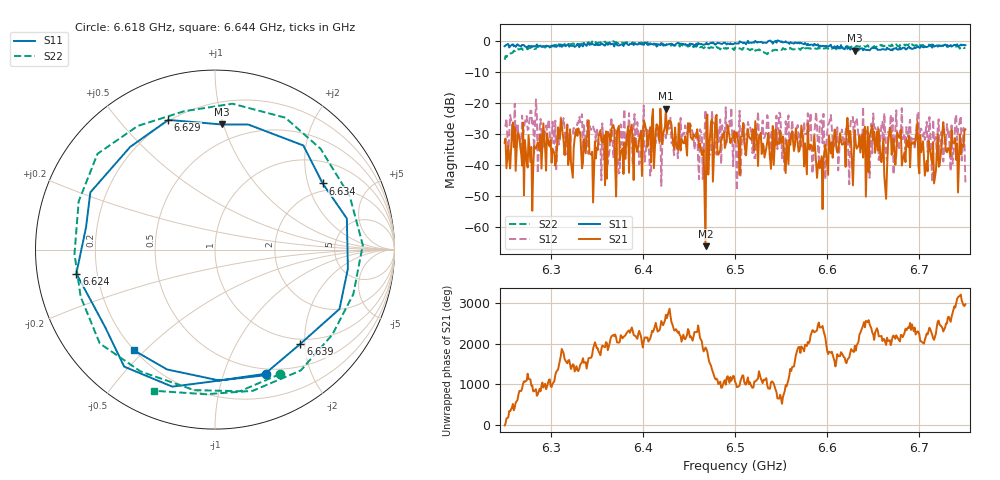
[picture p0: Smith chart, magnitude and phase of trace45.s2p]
# Hz S RI R 50
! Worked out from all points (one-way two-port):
!   401 points, 6.25 GHz to 6.75 GHz, reference 50 ohm
!   highest |S21| = -21.81 dB at 6.425 GHz (marker M1); lowest = -66.2 dB at 6.468 GHz (marker M2)
!   lowest |S11| = -3.1 dB at 6.63 GHz (marker M3), VSWR 5.63, Z = 18.1 + j49.4 ohm
!   |S11| at or under -10 dB: nowhere
!   |S22| runs from -6.0 to -0.1 dB; largest |S21 - S12| = 0.13
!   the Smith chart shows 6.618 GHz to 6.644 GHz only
!   S11 on the Smith chart (normalised r, x): 6.618 GHz: 0.45, -1.40; 6.624 GHz: 0.12, -0.08; 6.629 GHz: 0.19, +0.68; 6.634 GHz: 1.71, +2.49; 6.639 GHz: 0.91, -1.91; 6.644 GHz: 0.20, -0.46
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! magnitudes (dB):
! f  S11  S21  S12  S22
! 6.25 GHz  -1.7  -32.8  -27.3  -6.0
! 6.334 GHz  -1.4  -41.1  -23.6  -0.8
! 6.368 GHz  -1.0  -27.1  -37.5  -0.1
! 6.372 GHz  -1.3  -29.1  -34.3  -0.6
! 6.379 GHz  -1.6  -42.9  -28.9  -0.6
! 6.418 GHz  -1.1  -32.5  -33.0  -1.3
! 6.425 GHz  -1.1  -21.8  -31.4  -1.4
! 6.468 GHz  -1.0  -66.2  -22.2  -1.8
! 6.494 GHz  -1.0  -30.7  -25.7  -2.3
! 6.5 GHz  -0.6  -32.8  -29.4  -2.1
! 6.584 GHz  -1.2  -34.5  -42.7  -2.1
! 6.592 GHz  -1.5  -41.0  -26.0  -2.2
! 6.618 GHz  -2.5  -33.1  -33.7  -2.1
! 6.624 GHz  -2.1  -32.7  -46.2  -2.0
! 6.629 GHz  -2.3  -36.4  -32.6  -1.8
! 6.63 GHz  -3.1  -28.7  -26.5  -2.0
! 6.634 GHz  -3.0  -33.8  -30.3  -1.8
! 6.639 GHz  -3.0  -37.6  -21.2  -1.9
! 6.644 GHz  -2.9  -27.7  -30.2  -1.3
! 6.668 GHz  -2.7  -27.9  -29.3  -1.5
! 6.742 GHz  -1.6  -48.9  -28.8  -1.6
! 6.75 GHz  -1.3  -28.5  -45.8  -2.2
